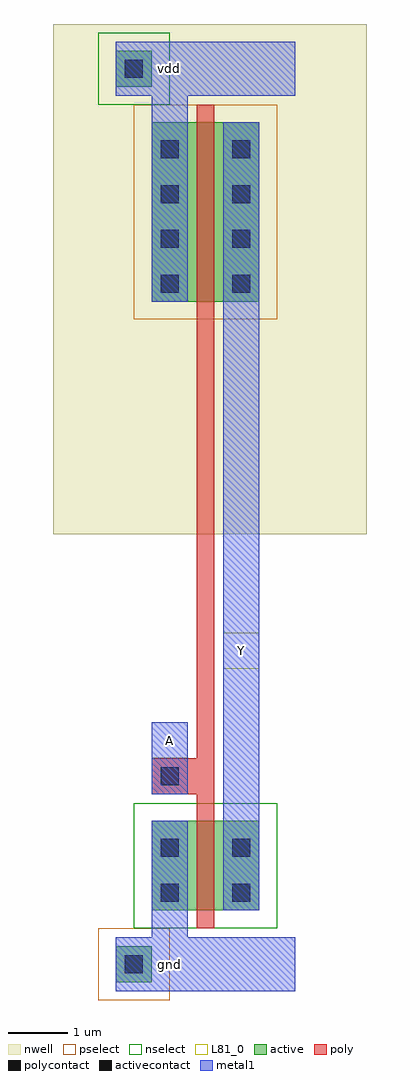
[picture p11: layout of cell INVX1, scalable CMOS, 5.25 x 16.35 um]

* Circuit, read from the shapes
.subckt INVX1 A Y gnd vdd
M1 Y A gnd gnd nfet w=1.5u l=0.3u
M2 Y A vdd vdd pfet w=3u l=0.3u
.ends

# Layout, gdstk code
import gdstk
lib = gdstk.Library(unit=1e-6, precision=1e-09)
def R(c, l, rs):  # rectangles x0, y0, x1, y1
    for r in rs: c.add(gdstk.rectangle(r[:2], r[2:], *l))
def A(c, l, x, y, w, h, nx, ny, dx, dy):  # array of equal rectangles
    R(c, l, [(x+i*dx, y+j*dy, x+i*dx+w, y+j*dy+h) for i in range(nx) for j in range(ny)])
nwell = (42, 0)
active = (43, 0)
pselect = (44, 0)
nselect = (45, 0)
poly = (46, 0)
polycontact = (47, 0)
activecontact = (48, 0)
metal1 = (49, 0)
L81_0 = (81, 0)

invx1 = lib.new_cell('INVX1')
R(invx1, nwell, [(-1.35,7.2,3.9,15.75)])
R(invx1, active, [(-0.3,-0.3,0.3,0.3), (0.3,0.9,2.1,2.4), (0.3,11.1,2.1,14.1), (-0.3,14.7,0.3,15.3)])
R(invx1, pselect, [(-0.6,-0.6,0.6,0.6), (0,10.8,2.4,14.4)])
R(invx1, nselect, [(0,0.6,2.4,2.7), (-0.6,14.4,0.6,15.6)])
R(invx1, poly, [(1.05,0.6,1.35,2.85), (0.3,2.85,1.35,3.45), (1.05,3.45,1.35,14.4)])
R(invx1, polycontact, [(0.45,3,0.75,3.3)])
A(invx1, activecontact, 0.45, 11.25, 0.3, 0.3, 1, 4, 0, 0.75)
A(invx1, activecontact, 1.65, 11.25, 0.3, 0.3, 1, 4, 0, 0.75)
R(invx1, activecontact, [(-0.15,-0.15,0.15,0.15), (0.45,1.05,0.75,1.35), (1.65,1.05,1.95,1.35), (0.45,1.8,0.75,2.1), (1.65,1.8,1.95,2.1), (-0.15,14.85,0.15,15.15)])
R(invx1, metal1, [(-0.3,-0.45,2.7,0.45), (0.3,0.45,0.9,2.4), (1.5,0.9,2.1,14.1), (0.3,2.85,0.9,4.05), (0.3,11.1,0.9,14.55), (-0.3,14.55,2.7,15.45)])
R(invx1, L81_0, [(0.3,3.45,0.9,4.05), (1.5,4.95,2.1,5.55)])
invx1.add(gdstk.Label('A', (0.6,3.75), layer=109, texttype=0))
invx1.add(gdstk.Label('Y', (1.8,5.25), layer=109, texttype=0))
invx1.add(gdstk.Label('vdd', (0.6,15), layer=109, texttype=0))
invx1.add(gdstk.Label('gnd', (0.6,0), layer=109, texttype=0))

lib.write_gds('INVX1.gds')
